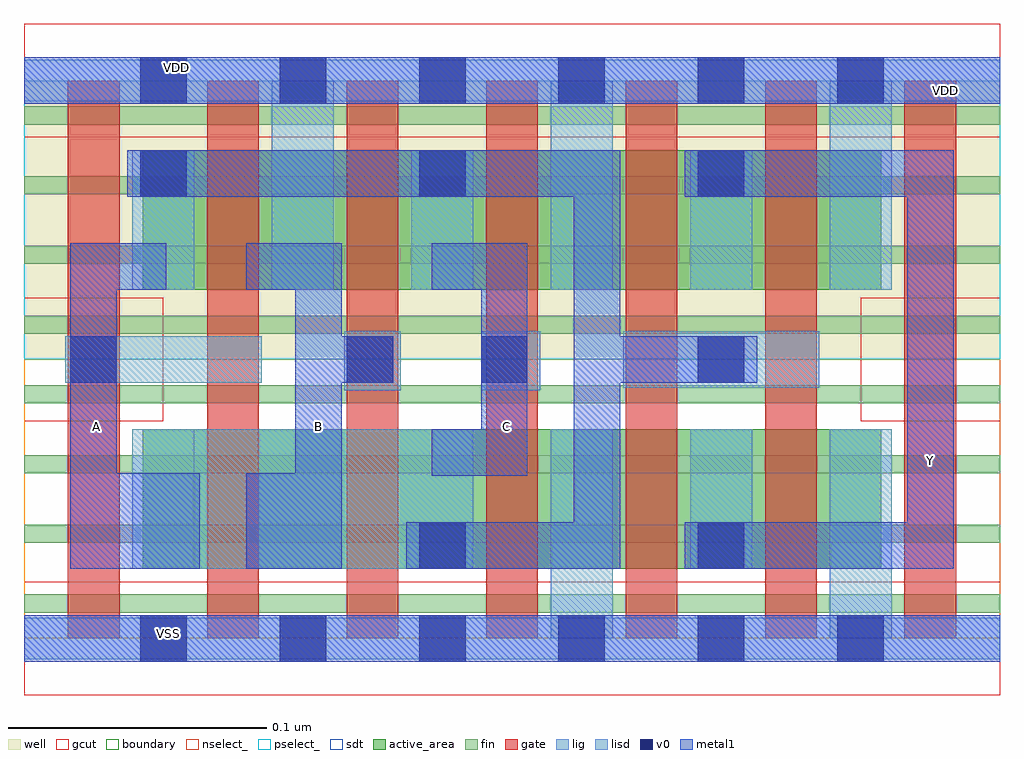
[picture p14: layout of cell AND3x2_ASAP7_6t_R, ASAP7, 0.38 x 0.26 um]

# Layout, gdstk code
import gdstk
lib = gdstk.Library(unit=1e-6, precision=2.5e-10)
def R(c, l, rs):  # rectangles x0, y0, x1, y1
    for r in rs: c.add(gdstk.rectangle(r[:2], r[2:], *l))
def A(c, l, x, y, w, h, nx, ny, dx, dy):  # array of equal rectangles
    R(c, l, [(x+i*dx, y+j*dy, x+i*dx+w, y+j*dy+h) for i in range(nx) for j in range(ny)])
def P(c, l, *ps):  # polygons
    for p in ps: c.add(gdstk.Polygon(p, *l))
well = (1, 0)
fin = (2, 0)
gate = (7, 0)
gcut = (10, 0)
active_area = (11, 0)
nselect_ = (12, 0)
pselect_ = (13, 0)
lig = (16, 0)
lisd = (17, 0)
v0 = (18, 0)
metal1 = (19, 0)
sdt = (88, 0)
boundary = (100, 0)

and3x2_asap7_6t_r = lib.new_cell('AND3x2_ASAP7_6t_R')
R(and3x2_asap7_6t_r, well, [(0,0.108,0.378,0.216)])
A(and3x2_asap7_6t_r, fin, 0, 0.01, 0.378, 0.007, 1, 7, 0, 0.027)
R(and3x2_asap7_6t_r, fin, [(0,0.172,0.378,0.179), (0,0.199,0.378,0.206), (0,0.199,0.378,0.206)])
A(and3x2_asap7_6t_r, gate, 0.017, 0, 0.02, 0.216, 7, 1, 0.054, 0)
R(and3x2_asap7_6t_r, gcut, [(0,-0.022,0.378,0.022), (0,0.084,0.054,0.132), (0.324,0.084,0.378,0.132), (0,0.194,0.378,0.238)])
R(and3x2_asap7_6t_r, active_area, [(0.046,0.027,0.332,0.081), (0.046,0.135,0.332,0.189)])
R(and3x2_asap7_6t_r, nselect_, [(0,0,0.378,0.108)])
R(and3x2_asap7_6t_r, pselect_, [(0,0.108,0.378,0.216)])
R(and3x2_asap7_6t_r, lig, [(0,-0.008,0.378,0.008), (0.124,0.096,0.146,0.119), (0.177,0.096,0.2,0.119), (0.232,0.097,0.308,0.119), (0.016,0.099,0.092,0.117), (0,0.208,0.378,0.224)])
A(and3x2_asap7_6t_r, lisd, 0.042, 0.135, 0.024, 0.054, 3, 1, 0.108, 0)
A(and3x2_asap7_6t_r, lisd, 0.096, 0.135, 0.024, 0.081, 3, 1, 0.108, 0)
R(and3x2_asap7_6t_r, lisd, [(0.204,0,0.228,0.081), (0.312,0,0.336,0.081), (0.042,0.027,0.174,0.081), (0.258,0.027,0.282,0.081)])
A(and3x2_asap7_6t_r, v0, 0.045, -0.009, 0.018, 0.018, 6, 2, 0.054, 0.216)
A(and3x2_asap7_6t_r, v0, 0.045, 0.171, 0.018, 0.018, 3, 1, 0.108, 0)
R(and3x2_asap7_6t_r, v0, [(0.153,0.027,0.171,0.045), (0.261,0.027,0.279,0.045), (0.018,0.099,0.036,0.117), (0.125,0.099,0.143,0.117), (0.177,0.099,0.195,0.117), (0.261,0.099,0.279,0.117)])
R(and3x2_asap7_6t_r, metal1, [(0,-0.009,0.378,0.009), (0,0.207,0.378,0.225)])
P(and3x2_asap7_6t_r, metal1, [(0.055,0.135),(0.036,0.135),(0.036,0.064),(0.068,0.064),(0.068,0.027),(0.018,0.027),(0.018,0.153),(0.055,0.153)],
  [(0.143,0.099),(0.123,0.099),(0.123,0.027),(0.086,0.027),(0.086,0.064),(0.105,0.064),(0.105,0.135),(0.086,0.135),(0.086,0.153),(0.123,0.153),(0.123,0.117),(0.143,0.117)],
  [(0.284,0.099),(0.231,0.099),(0.231,0.027),(0.148,0.027),(0.148,0.045),(0.213,0.045),(0.213,0.171),(0.04,0.171),(0.04,0.189),(0.231,0.189),(0.231,0.117),(0.284,0.117)],
  [(0.195,0.063),(0.158,0.063),(0.158,0.081),(0.177,0.081),(0.177,0.135),(0.158,0.135),(0.158,0.153),(0.195,0.153)],
  [(0.36,0.027),(0.256,0.027),(0.256,0.045),(0.342,0.045),(0.342,0.171),(0.256,0.171),(0.256,0.189),(0.36,0.189)])
A(and3x2_asap7_6t_r, sdt, 0.204, 0.027, 0.024, 0.054, 3, 1, 0.054, 0)
A(and3x2_asap7_6t_r, sdt, 0.042, 0.135, 0.024, 0.054, 6, 1, 0.054, 0)
R(and3x2_asap7_6t_r, sdt, [(0.042,0.027,0.066,0.081)])
R(and3x2_asap7_6t_r, boundary, [(0,0,0.378,0.216)])
and3x2_asap7_6t_r.add(gdstk.Label('VSS', (0.056,0.002), layer=19, texttype=251))
and3x2_asap7_6t_r.add(gdstk.Label('VDD', (0.059,0.221), layer=19, texttype=251))
and3x2_asap7_6t_r.add(gdstk.Label('B', (0.114,0.082), layer=19, texttype=251))
and3x2_asap7_6t_r.add(gdstk.Label('A', (0.028,0.082), layer=19, texttype=251))
and3x2_asap7_6t_r.add(gdstk.Label('Y', (0.351,0.069), layer=19, texttype=251))
and3x2_asap7_6t_r.add(gdstk.Label('C', (0.187,0.082), layer=19, texttype=251))
and3x2_asap7_6t_r.add(gdstk.Label('VDD', (0.357,0.212), layer=1, texttype=251))
and3x2_asap7_6t_r.add(gdstk.Label('VSS', (0.426,0.211), layer=3, texttype=251))

lib.write_gds('AND3x2_ASAP7_6t_R.gds')
